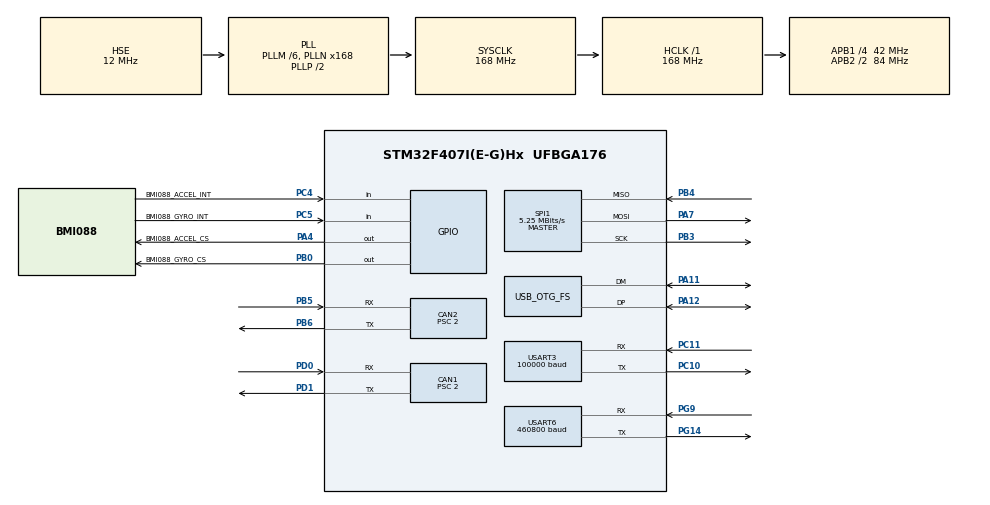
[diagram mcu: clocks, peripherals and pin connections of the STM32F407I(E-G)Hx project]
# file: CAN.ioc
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CAN1.BS1=CAN_BS1_16TQ
CAN1.BS2=CAN_BS2_4TQ
CAN1.CalculateBaudRate=1000000
CAN1.CalculateTimeBit=1000
CAN1.CalculateTimeQuantum=47.61904761904762
CAN1.Prescaler=2
CAN2.ABOM=ENABLE
CAN2.BS1=CAN_BS1_16TQ
CAN2.BS2=CAN_BS2_4TQ
CAN2.CalculateBaudRate=1000000
CAN2.CalculateTimeBit=1000
CAN2.CalculateTimeQuantum=47.61904761904762
CAN2.Prescaler=2
Dma.Request0=USART3_RX
Dma.Request1=USART6_TX
Dma.USART6_TX.1.Direction=DMA_MEMORY_TO_PERIPH
Dma.USART6_TX.1.FIFOMode=DMA_FIFOMODE_DISABLE
Dma.USART6_TX.1.Instance=DMA2_Stream6
Dma.USART6_TX.1.MemDataAlignment=DMA_MDATAALIGN_BYTE
Dma.USART6_TX.1.MemInc=DMA_MINC_ENABLE
Dma.USART6_TX.1.Mode=DMA_NORMAL
Dma.USART6_TX.1.PeriphDataAlignment=DMA_PDATAALIGN_BYTE
Dma.USART6_TX.1.PeriphInc=DMA_PINC_DISABLE
Dma.USART6_TX.1.Priority=DMA_PRIORITY_LOW
Dma.USART3_RX.0.Direction=DMA_PERIPH_TO_MEMORY
Dma.USART3_RX.0.FIFOMode=DMA_FIFOMODE_DISABLE
Dma.USART3_RX.0.Instance=DMA1_Stream1
Dma.USART3_RX.0.MemDataAlignment=DMA_MDATAALIGN_BYTE
Dma.USART3_RX.0.MemInc=DMA_MINC_ENABLE
Dma.USART3_RX.0.Mode=DMA_NORMAL
Dma.USART3_RX.0.PeriphDataAlignment=DMA_PDATAALIGN_BYTE
Dma.USART3_RX.0.PeriphInc=DMA_PINC_DISABLE
Dma.USART3_RX.0.Priority=DMA_PRIORITY_LOW
FREERTOS.Tasks01=gimbalTask,40,512,StartGimbalTask,Default,NULL,Dynamic,NULL,NULL
FREERTOS.Tasks02=imuTask,32,512,StartImuTask,Default,NULL,Dynamic,NULL,NULL
FREERTOS.Tasks03=uartDebugTask,8,1024,StartUartDebugTask,Default,NULL,Dynamic,NULL,NULL
FREERTOS.configUSE_PREEMPTION=1
Mcu.Family=STM32F4
Mcu.Name=STM32F407I(E-G)Hx
Mcu.Package=UFBGA176
NVIC.DMA1_Stream1_IRQn=true\:5\:0\:false\:false\:true\:true\:false\:true\:true
NVIC.DMA2_Stream6_IRQn=true\:5\:0\:false\:false\:true\:true\:false\:true\:true
NVIC.OTG_FS_IRQn=true\:5\:0\:false\:false\:true\:true\:true\:true\:true
NVIC.PriorityGroup=NVIC_PRIORITYGROUP_4
NVIC.TIM6_DAC_IRQn=true\:15\:0\:false\:false\:true\:false\:false\:true\:true
NVIC.TimeBase=TIM6_DAC_IRQn
NVIC.TimeBaseIP=TIM6
NVIC.USART3_IRQn=true\:5\:0\:false\:false\:true\:true\:true\:true\:true
NVIC.USART6_IRQn=true\:5\:0\:false\:false\:true\:true\:true\:true\:true
PA11.Mode=Device_Only
PA11.Signal=USB_OTG_FS_DM
PA12.Mode=Device_Only
PA12.Signal=USB_OTG_FS_DP
PA13.Mode=Serial_Wire
PA13.Signal=SYS_JTMS-SWDIO
PA14.Mode=Serial_Wire
PA14.Signal=SYS_JTCK-SWCLK
PA4.GPIO_Label=BMI088_ACCEL_CS
PA4.PinState=GPIO_PIN_SET
PA4.Signal=GPIO_Output
PA7.Mode=Full_Duplex_Master
PA7.Signal=SPI1_MOSI
PB0.GPIO_Label=BMI088_GYRO_CS
PB0.PinState=GPIO_PIN_SET
PB0.Signal=GPIO_Output
PB3.Mode=Full_Duplex_Master
PB3.Signal=SPI1_SCK
PB4.Mode=Full_Duplex_Master
PB4.Signal=SPI1_MISO
PB5.Mode=CAN_Activate
PB5.Signal=CAN2_RX
PB6.Mode=CAN_Activate
PB6.Signal=CAN2_TX
PC4.GPIO_Label=BMI088_ACCEL_INT
PC4.Signal=GPIO_Input
PC5.GPIO_Label=BMI088_GYRO_INT
PC5.Signal=GPIO_Input
PC10.Mode=Asynchronous
PC10.Signal=USART3_TX
PC11.Mode=Asynchronous
PC11.Signal=USART3_RX
PD0.Mode=CAN_Activate
PD0.Signal=CAN1_RX
PD1.Mode=CAN_Activate
PD1.Signal=CAN1_TX
PG14.Mode=Asynchronous
PG14.Signal=USART6_TX
PG9.Mode=Asynchronous
PG9.Signal=USART6_RX
PH0-OSC_IN.Mode=HSE-External-Oscillator
PH0-OSC_IN.Signal=RCC_OSC_IN
PH1-OSC_OUT.Mode=HSE-External-Oscillator
PH1-OSC_OUT.Signal=RCC_OSC_OUT
ProjectManager.HeapSize=0x200
ProjectManager.StackSize=0x400
ProjectManager.TargetToolchain=CMake
RCC.48MHZClocksFreq_Value=48000000
RCC.AHBFreq_Value=168000000
RCC.APB1CLKDivider=RCC_HCLK_DIV4
RCC.APB1Freq_Value=42000000
RCC.APB1TimFreq_Value=84000000
RCC.APB2CLKDivider=RCC_HCLK_DIV2
RCC.APB2Freq_Value=84000000
RCC.APB2TimFreq_Value=168000000
RCC.CortexFreq_Value=168000000
RCC.HCLKFreq_Value=168000000
RCC.HSE_VALUE=12000000
RCC.HSI_VALUE=16000000
RCC.LSE_VALUE=32768
RCC.PLLM=6
RCC.PLLN=168
RCC.PLLQ=7
RCC.SYSCLKFreq_VALUE=168000000
RCC.SYSCLKSource=RCC_SYSCLKSOURCE_PLLCLK
RCC.VCOOutputFreq_Value=336000000
SPI1.BaudRatePrescaler=SPI_BAUDRATEPRESCALER_16
SPI1.CalculateBaudRate=5.25 MBits/s
SPI1.Direction=SPI_DIRECTION_2LINES
SPI1.Mode=SPI_MODE_MASTER
SPI1.VirtualType=VM_MASTER
USART3.BaudRate=100000
USART3.Mode=MODE_RX
USART3.Parity=PARITY_EVEN
USART3.VirtualMode=VM_ASYNC
USART3.WordLength=WORDLENGTH_9B
USART6.BaudRate=460800
USART6.VirtualMode=VM_ASYNC
USB_DEVICE.CLASS_NAME_FS=CDC
USB_DEVICE.VirtualMode-CDC_FS=Cdc
USB_DEVICE.VirtualModeFS=Cdc_FS
USB_OTG_FS.VirtualMode=Device_Only
VP_FREERTOS_VS_CMSIS_V2.Mode=CMSIS_V2
VP_SYS_VS_tim6.Mode=TIM6
VP_USB_DEVICE_VS_USB_DEVICE_CDC_FS.Mode=CDC_FS
board=custom

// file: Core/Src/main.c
/**
 * ===========================================================================
 * @file    main.c
 * @brief   系统入口 — 基于 FreeRTOS 的步兵机器人云台/底盘/发射控制
 * ===========================================================================
 *
 * 【系统概述 (System Overview)】
 *   本系统是 RoboMaster 步兵机器人电控固件，运行在 STM32F407 上，
 *   基于 FreeRTOS 多任务架构。控制对象包括：
 *     - 双轴 GM6020 云台 (Yaw + Pitch)
 *     - 双 C620/M3508 摩擦轮 (发射机构)
 *     - C610/M2006 拨弹盘 (单发/连发)
 *     - CAN 底盘控制命令
 *     - BMI088 IMU 惯性测量 + Pitch 融合
 *
 * 【硬件总线拓扑 (Bus Topology)】
 *   CAN1 (PD0/PD1) — 云台 Yaw + 拨弹盘 + 底盘命令 (0x300/0x301)
 *   CAN2 (PB5/PB6) — 云台 Pitch + 双摩擦轮
 *   USART3 + DMA1  — DBUS 遥控器接收机 (100kbps 8E1)
 *   USART6 + DMA2  — 调试数据输出 (460800 8N1)
 *   SPI1           — BMI088 IMU
 *   USB OTG FS     — CDC 虚拟串口 (上位机协议)
 *   TIM6           — HAL 时基 (1ms, 替代 SysTick)
 *
 * 【架构变化 (RTOS Architecture)】
 *   早期版本为裸机 while(1) 循环；当前版本改为 FreeRTOS：
 *     main() 完成外设与业务模块初始化后启动调度器 (osKernelStart)，
 *     所有业务逻辑在 freertos.c 的 gimbalTask 中以 1 ms 周期运行。
 *
 * 【时钟树 (Clock Tree)】
 *   HSE=8MHz → PLL → SYSCLK=168MHz → HCLK=168MHz
 *   PCLK1=42MHz (CAN/APB1), PCLK2=84MHz (USART6/APB2)
 *   USB 48MHz = PLLQ=7
 *
 * 【关键配置入口】
 *   - config/gimbal_params.h        云台 CAN ID、PID、零位、限位
 *   - config/dual_m3508_params.h    摩擦轮 PID、安全参数
 *   - config/feeder_params.h        拨弹盘 PID、单发步距
 *   - config/pitch_fusion_config.h  IMU 融合、Kalman 参数
 * ===========================================================================
 */
/* USER CODE BEGIN Header */
/**
  ******************************************************************************
  * @file           : main.c
  * @brief          : Main program body
  ******************************************************************************
  * @attention
  *
  * Copyright (c) 2026 STMicroelectronics.
  * All rights reserved.
  *
  * This software is licensed under terms that can be found in the LICENSE file
  * in the root directory of this software component.
  * If no LICENSE file comes with this software, it is provided AS-IS.
  *
  ******************************************************************************
  */
/* USER CODE END Header */
#include "main.h"
#include "cmsis_os.h"
#include "can.h"
#include "dma.h"
#include "spi.h"
#include "usart.h"
#include "usb_device.h"
#include "gpio.h"

/* USER CODE BEGIN Includes */
/*
 * 项目自定义模块 (Project Custom Modules)：
 *   chassis_can.h       — CAN1 底盘控制命令发送 (Chassis CAN1 command transmission)
 *   bmi088.h            — BMI088 6轴 IMU SPI 驱动
 *   control_input.h     — USB CDC 双轴串口控制入口 (USB CDC serial control interface)
 *   dbus.h              — DBUS 遥控器接收与解析
 *   dual_m3508.h        — CAN2 双C620/M3508 摩擦轮控制
 *   feeder_motor.h      — CAN1 C610 ID3 / M2006 拨弹盘控制
 *   gimbal_calibration.h — 双轴上电自动机械零位采样
 *   motor_control.h     — 双轴 GM6020 电机串级 PID 控制
 *   pitch_fusion.h      — Pitch 轴 IMU/编码器融合
 *   remote_gimbal_control.h — DBUS 摇杆到双轴云台位置目标的映射
 *   uart_debug.h        — USART6 统一调试数据输出
 */
#include "chassis_can.h"
#include "bmi088.h"
#include "control_input.h"
#include "dbus.h"
#include "dual_m3508.h"
#include "feeder_motor.h"
#include "gimbal_calibration.h"
#include "motor_control.h"
#include "pitch_fusion.h"
#include "remote_gimbal_control.h"
#include "uart_debug.h"
/* USER CODE END Includes */

void SystemClock_Config(void);
void MX_FREERTOS_Init(void);

int main(void)
{

  /* MCU Configuration--------------------------------------------------------*/

  /* Reset of all peripherals, Initializes the Flash interface and the Systick. */
  HAL_Init();

  /* Configure the system clock */
  SystemClock_Config();

  /* Initialize all configured peripherals */
  MX_GPIO_Init();
  MX_SPI1_Init();
  MX_DMA_Init();
  MX_CAN1_Init();
  MX_USART6_UART_Init();
  MX_CAN2_Init();
  MX_USART3_UART_Init();
  /* USER CODE BEGIN 2 */

  /* ---- 阶段2：业务模块初始化 ---- */

  /*
   * 初始化双轴 GM6020 电机控制器：
   *   Yaw   → 上板 CAN1（经滑环到下板 CAN2），ID 2，反馈 0x206
   *   Pitch → 上板 CAN2，ID 2，反馈 0x206
   * 两条总线各自配置滤波器并分别发送 0x1FE 电流帧。
   */
  if (GM6020_Init(&hcan1, &hcan2) != HAL_OK)
  {
    Error_Handler();
  }
  GimbalCalibration_Init();

  /*
   * 初始化CAN2上的双C620/M3508摩擦轮：
   *   ID1/ID2反馈0x201/0x202 -> 过滤器组15 -> FIFO1；
   *   控制帧0x200的DATA[0:3]，上电默认双零电流。
   */
  if (DualM3508_Init(&hcan2) != HAL_OK)
  {
    Error_Handler();
  }

  /*
   * 初始化CAN1上的C610 ID3拨弹盘：
   *   过滤器组1 -> FIFO1 -> 反馈0x203；
   *   控制帧0x200的DATA[4:5]，上电默认零电流且必须中挡重新解锁。
   */
  if (FeederMotor_Init(&hcan1) != HAL_OK)
  {
    Error_Handler();
  }

  /*
   * 初始化 CAN1 底盘发送通道。CAN1 已由 Yaw 电机模块启动时直接复用；
   * 底盘 0x300/0x301 与 Yaw 0x206/0x1FE 不冲突。
   */
  if (ChassisCAN_Init(&hcan1) != HAL_OK)
  {
    Error_Handler();
  }

  /*
   * 启动开发板 C 型板载 DBUS 接口：
   * DBUS -> 板载反相电路 -> PC11/USART3_RX -> DMA1 Stream1。
   */
  if (DBUS_Init(&huart3) != HAL_OK)
  {
    Error_Handler();
  }
  RemoteGimbalControl_Init();

  /*
   * BMI088最小通信验证：分别读取加速度计和陀螺仪CHIP_ID。
   * 读取失败不阻止云台工作，诊断结果由USART6调试任务周期输出。
  */
  (void)BMI088_Init(&hspi1);
  PitchFusion_Init();
  if (UART_Debug_Init(&huart6) != HAL_OK)
  {
    Error_Handler();
  }

  /* USER CODE END 2 */

  /* ---- 阶段4：启动 FreeRTOS 调度器 ---- */

  /* 初始化 FreeRTOS 内核 (CMSIS-RTOS v2 封装) */
  osKernelInitialize();  /* Call init function for freertos objects (in cmsis_os2.c) */

  /* 创建 gimbalTask 及其他 RTOS 对象 (线程/互斥/队列等) */
  MX_FREERTOS_Init();

  /* 启动调度器 — 开始任务调度，main() 自此不再返回 */
  osKernelStart();

  /* We should never get here as control is now taken by the scheduler */

  /* Infinite loop (防御性代码 — 正常情况下不会执行到这里) */
  while (1)
  {

    /* USER CODE BEGIN 3 */
    /* osKernelStart() 成功后不会返回；业务调度位于 freertos.c 的 gimbalTask。 */
  }
  /* USER CODE END 3 */
}

void SystemClock_Config(void)
{
  RCC_OscInitTypeDef RCC_OscInitStruct = {0};
  RCC_ClkInitTypeDef RCC_ClkInitStruct = {0};

  /** Configure the main internal regulator output voltage
  */
  __HAL_RCC_PWR_CLK_ENABLE();
  __HAL_PWR_VOLTAGESCALING_CONFIG(PWR_REGULATOR_VOLTAGE_SCALE1);

  /** Initializes the RCC Oscillators according to the specified parameters
  * in the RCC_OscInitTypeDef structure.
  */
  RCC_OscInitStruct.OscillatorType = RCC_OSCILLATORTYPE_HSE;
  RCC_OscInitStruct.HSEState = RCC_HSE_ON;
  RCC_OscInitStruct.PLL.PLLState = RCC_PLL_ON;
  RCC_OscInitStruct.PLL.PLLSource = RCC_PLLSOURCE_HSE;
  RCC_OscInitStruct.PLL.PLLM = 6;
  RCC_OscInitStruct.PLL.PLLN = 168;
  RCC_OscInitStruct.PLL.PLLP = RCC_PLLP_DIV2;
  RCC_OscInitStruct.PLL.PLLQ = 7;
  if (HAL_RCC_OscConfig(&RCC_OscInitStruct) != HAL_OK)
  {
    Error_Handler();
  }

  /** Initializes the CPU, AHB and APB buses clocks
  */
  RCC_ClkInitStruct.ClockType = RCC_CLOCKTYPE_HCLK|RCC_CLOCKTYPE_SYSCLK
                              |RCC_CLOCKTYPE_PCLK1|RCC_CLOCKTYPE_PCLK2;
  RCC_ClkInitStruct.SYSCLKSource = RCC_SYSCLKSOURCE_PLLCLK;
  RCC_ClkInitStruct.AHBCLKDivider = RCC_SYSCLK_DIV1;
  RCC_ClkInitStruct.APB1CLKDivider = RCC_HCLK_DIV4;
  RCC_ClkInitStruct.APB2CLKDivider = RCC_HCLK_DIV2;

  if (HAL_RCC_ClockConfig(&RCC_ClkInitStruct, FLASH_LATENCY_5) != HAL_OK)
  {
    Error_Handler();
  }
}

void HAL_TIM_PeriodElapsedCallback(TIM_HandleTypeDef *htim)
{
  if (htim->Instance == TIM6)
  {
    HAL_IncTick();
  }
}

void Error_Handler(void)
{
  __disable_irq();
  while (1)
  {
  }
}

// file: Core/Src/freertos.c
/* USER CODE BEGIN Header */
/**
  ******************************************************************************
  * File Name          : freertos.c
  * Description        : Code for freertos applications
  ******************************************************************************
  * @attention
  *
  * Copyright (c) 2026 STMicroelectronics.
  * All rights reserved.
  *
  * This software is licensed under terms that can be found in the LICENSE file
  * in the root directory of this software component.
  * If no LICENSE file comes with this software, it is provided AS-IS.
  *
  ******************************************************************************
  */
/* USER CODE END Header */

#include "FreeRTOS.h"
#include "task.h"
#include "main.h"
#include "cmsis_os.h"

/**
 * ===========================================================================
 * @file    freertos.c
 * @brief   FreeRTOS 任务创建与 gimbalTask 主控制循环
 * ===========================================================================
 *
 * 【RTOS 架构说明 (RTOS Architecture)】
 *   本系统从原裸机 while(1) 主循环迁移到 FreeRTOS 架构：
 *   - gimbalTask (512×4 字节栈, osPriorityHigh) 负责云台控制
 *   - imuTask (512×4 字节栈, osPriorityAboveNormal) 负责BMI088采集
 *   - uartDebugTask (1024×4 字节栈, osPriorityLow) 负责USART6调试输出
 *   - 控制与IMU任务1 ms周期，调试任务10 ms周期
 *   - 保留原裸机主循环的调用顺序，确保行为一致性
 *
 *   当前任务架构：
 *     gimbalTask   (1 kHz) — 电机控制、上位机协议、标定、遥控器
 *     imuTask      (1 kHz) — BMI088六轴原始数据与温度采集
 *     uartDebugTask (100 Hz时隙) — USART6分时输出全部关键调试数据
 *   未来可继续扩展：
 *     safetyTask   (50 Hz) — 超时检测、看门狗喂狗、心跳 LED
 *
 * 【任务周期 (Task Period & Scheduling)】
 *   vTaskDelayUntil(&last_wake_time, 1ms) 确保精确 1 kHz 调度：
 *   - 使用绝对唤醒时间 (absolute wake time)，不会累积漂移
 *   - 控制周期 = 1 ms → 与 GM6020 反馈帧速率 (~1 kHz) 匹配
 *   - ChassisCAN_Process() 内部自己节流 (10 ms)
 *
 * 【与原裸机主循环的差异 (vs Bare-Metal)】
 *   裸机 main.c while(1)                     RTOS gimbalTask for(;;)
 *   ─────────────────────────────────       ──────────────────────
 *   control_in()                            DBUS_Process()        ← 新增
 *   GM6020_Process()                        control_in()
 *   control_out()                           GM6020_Process()
 *   ChassisCAN_Process()                    GimbalCalibration_Process() ← 新增
 *                                           RemoteGimbalControl_Process() ← 新增
 *                                           control_out()
 *                                           ChassisCAN_Process()
 *
 * 【FreeRTOS 钩子函数 (Hook Functions)】
 *   - vApplicationStackOverflowHook  — 栈溢出保护：关中断 → 死循环
 *   - vApplicationMallocFailedHook   — 动态内存分配失败：关中断 → 死循环
 * ===========================================================================
 */

/* USER CODE BEGIN Includes */
/*
 * 项目自定义模块 (Project custom modules)。
 *   原裸机所有模块在此处包含，RTOS 任务中调度。
 */
#include "chassis_can.h"         /* CAN1 底盘控制 */
#include "bmi088.h"              /* BMI088六轴原始数据采集 */
#include "control_input.h"       /* USB CDC 串口协议 */
#include "dbus.h"                /* DBUS 遥控器接收 */
#include "dual_m3508.h"          /* CAN2双C620/M3508摩擦轮 */
#include "feeder_motor.h"        /* CAN1 C610 ID3拨弹盘 */
#include "gimbal_calibration.h"  /* 云台零位 Flash 标定 */
#include "motor_control.h"       /* 双轴 GM6020 电机控制 */
#include "pitch_fusion.h"        /* Pitch轴 BMI088/编码器融合闭环 */
#include "remote_gimbal_control.h" /* DBUS 摇杆映射到云台目标 */
#include "uart_debug.h"          /* USART6统一调试数据输出 */
/* USER CODE END Includes */

/* USER CODE BEGIN PD */
/*
 * 云台控制任务执行周期：1 ms → 1 kHz。
 * 与 GM6020 电机反馈帧推送频率 (~1 kHz) 匹配，
 * 确保每个控制周期都能处理最新收到的反馈帧。
 */
#define GIMBAL_CONTROL_PERIOD_MS  1U    /* 控制任务周期 — control task period (ms) */
#define IMU_ACQUISITION_PERIOD_MS 1U    /* IMU采集任务周期 — acquisition period (ms) */
#define UART_DEBUG_PERIOD_MS      10U   /* 调试数据分时时隙 — debug slot period */
/* USER CODE END PD */

/*
 * ─── 云台控制任务定义 (Gimbal Control Task Definition) ───
 *
 * 栈大小: 512 × 4 = 2048 字节 (CMSIS-RTOS v2 以 uint32_t 为单位)。
 *   实际分配: 2048 bytes ≈ 2 KiB。
 *   各模块栈用量估算: 电机控制 PID 栈变量 ~200B + CAN 收发 ~100B
 *                   + USB CDC 缓冲 ~200B + FreeRTOS 上下文 ~100B
 *                   → 总 ~600B（留有充足裕度用于嵌套中断和函数调用）
 * 优先级: osPriorityHigh (仅次于系统 Tick/SVC 中断)
 */
osThreadId_t gimbalTaskHandle;                        /* 任务句柄 — task handle (for osThread* APIs) */
const osThreadAttr_t gimbalTask_attributes = {
  .name       = "gimbalTask",                         /* 任务名称 — task name (debugger display) */
  .stack_size = 512 * 4,                              /* 栈大小 — stack size in uint32_t units (2 KiB) */
  .priority   = (osPriority_t) osPriorityHigh,        /* 任务优先级 — high priority */
};

/*
 * IMU采集任务优先级低于云台控制任务。两个任务同时就绪时，
 * 先执行电机控制，再进行阻塞式SPI读取，避免IMU采集延迟控制周期。
 */
osThreadId_t imuTaskHandle;
const osThreadAttr_t imuTask_attributes = {
  .name       = "imuTask",
  .stack_size = 512 * 4,
  .priority   = (osPriority_t) osPriorityAboveNormal,
};

/*
 * UART格式化和发送放在最低优先级任务，避免阻塞1 kHz控制环。
 * 4 KiB栈用于snprintf及各调试数据快照。
 */
osThreadId_t uartDebugTaskHandle;
const osThreadAttr_t uartDebugTask_attributes = {
  .name       = "uartDebugTask",
  .stack_size = 1024 * 4,
  .priority   = (osPriority_t) osPriorityLow,
};

void StartGimbalTask(void *argument);
void StartImuTask(void *argument);
void StartUartDebugTask(void *argument);

extern void MX_USB_DEVICE_Init(void);
void MX_FREERTOS_Init(void); /* (MISRA C 2004 rule 8.1) */

void MX_FREERTOS_Init(void) {

  /* Create the thread(s) */
  /* creation of gimbalTask */
  gimbalTaskHandle = osThreadNew(StartGimbalTask, NULL, &gimbalTask_attributes);

  /* creation of imuTask */
  imuTaskHandle = osThreadNew(StartImuTask, NULL, &imuTask_attributes);

  /* creation of uartDebugTask */
  uartDebugTaskHandle = osThreadNew(
      StartUartDebugTask, NULL, &uartDebugTask_attributes);

}

/*
 * ─── 云台控制任务主函数 (Gimbal Control Task Main Function) ───
 *
 * FreeRTOS 在调度器启动后调用此函数。无限循环以 1 ms 固定周期运行。
 * 调度顺序与原裸机主循环保持一致，新增 DBUS 遥控器和标定模块。
 */
void StartGimbalTask(void *argument)
{
  /* ---- 任务初始化阶段 (Task Initialization) ---- */
  MX_USB_DEVICE_Init();          /* USB CDC 虚拟串口初始化 */
  /* USER CODE BEGIN StartGimbalTask */
  TickType_t last_wake_time = xTaskGetTickCount(); /* 记录调度器启动时刻作为基准 */

  (void)argument;  /* 未使用参数 — unused FreeRTOS task argument */

  /*
   * ─── 主控制循环 (Main Control Loop) ───
   *
   * 保留原裸机主循环的调用顺序，避免 RTOS 迁移改变控制行为。
   * vTaskDelayUntil() 使用绝对唤醒时间，确保 1 ms 精确周期
   * 且不累积调度漂移 (no cumulative drift)。
   *
   * 调用顺序及频率：
   *   1. DBUS_Process()                — 解析 DBUS 帧, 与反馈速率同步 (~1 kHz)
   *   2. control_in()                   — 串口命令处理, 有命令时才动作
   *   3. GM6020_Process()              — 电机控制, 与 CAN 反馈同步 (~1 kHz)
   *   4. GimbalCalibration_Process()   — 标定状态机, 空操作除非标定中
   *   5. PitchFusion_Process()         — Pitch融合状态与超时维护
   *   6. RemoteGimbalControl_Process() — 摇杆、摩擦轮和拨弹联锁
   *   7. DualM3508_Process()           — CAN2 FIFO1双摩擦轮速度环
   *   8. FeederMotor_Process()         — CAN1 FIFO1反馈与拨弹盘速度环
   *   9. control_out()                 — USB CDC状态反馈，预留给MiniPC/视觉
   *  10. ChassisCAN_Process()          — 内部节流 (10 ms=100 Hz)
   *
   * 调试数据已移到低优先级uartDebugTask，不占用本控制任务发送时间。
   */
  for(;;)
  {
    DBUS_Process();
    control_in();
    GM6020_Process();
    GimbalCalibration_Process();
    PitchFusion_Process();
    RemoteGimbalControl_Process();
    DualM3508_Process();
    FeederMotor_Process();
    control_out();
    ChassisCAN_Process();

    /* 绝对延迟 1 ms — 与下一拍唤醒时间对齐，不累积漂移 */
    vTaskDelayUntil(
        &last_wake_time,
        pdMS_TO_TICKS(GIMBAL_CONTROL_PERIOD_MS));
  }
  /* USER CODE END StartGimbalTask */
}

void StartImuTask(void *argument)
{
  /* USER CODE BEGIN StartImuTask */
  TickType_t last_wake_time = xTaskGetTickCount();

  (void)argument;

  for (;;)
  {
    (void)BMI088_ReadSample();
    vTaskDelayUntil(
        &last_wake_time,
        pdMS_TO_TICKS(IMU_ACQUISITION_PERIOD_MS));
  }
  /* USER CODE END StartImuTask */
}

void StartUartDebugTask(void *argument)
{
  /* USER CODE BEGIN StartUartDebugTask */
  TickType_t last_wake_time = xTaskGetTickCount();

  (void)argument;

  for (;;)
  {
    UART_Debug_Process();
    vTaskDelayUntil(
        &last_wake_time,
        pdMS_TO_TICKS(UART_DEBUG_PERIOD_MS));
  }
  /* USER CODE END StartUartDebugTask */
}

/* USER CODE BEGIN Application */

/*
 * FreeRTOS 栈溢出钩子 (Stack Overflow Hook)。
 * 当任务的栈使用量超过分配值时，FreeRTOS 在任务上下文切换时调用此函数。
 * 处理方式：禁用所有中断 + 死循环（等待看门狗复位或手动重启）。
 * 生产环境中可在此处写错误码到备份寄存器或触发外部看门狗。
 */
void vApplicationStackOverflowHook(TaskHandle_t task,
                                   char *task_name)
{
  (void)task;       /* 溢出任务句柄 — 可用于调试器或日志记录 */
  (void)task_name;  /* 溢出任务名称 — 可在调试器中查看 */
  taskDISABLE_INTERRUPTS();  /* 禁止中断 → 停止调度器 */
  for (;;)                   /* 死循环 → 等待看门狗复位 */
  {
  }
}

/*
 * FreeRTOS 内存分配失败钩子 (Malloc Failed Hook)。
 * 当 pvPortMalloc() 无法分配请求的内存时调用。
 * 处理方式：同栈溢出（关中断+死循环）。
 */
void vApplicationMallocFailedHook(void)
{
  taskDISABLE_INTERRUPTS();  /* 禁止中断 → 停止调度器 */
  for (;;)                   /* 死循环 → 等待看门狗复位 */
  {
  }
}

/* USER CODE END Application */
